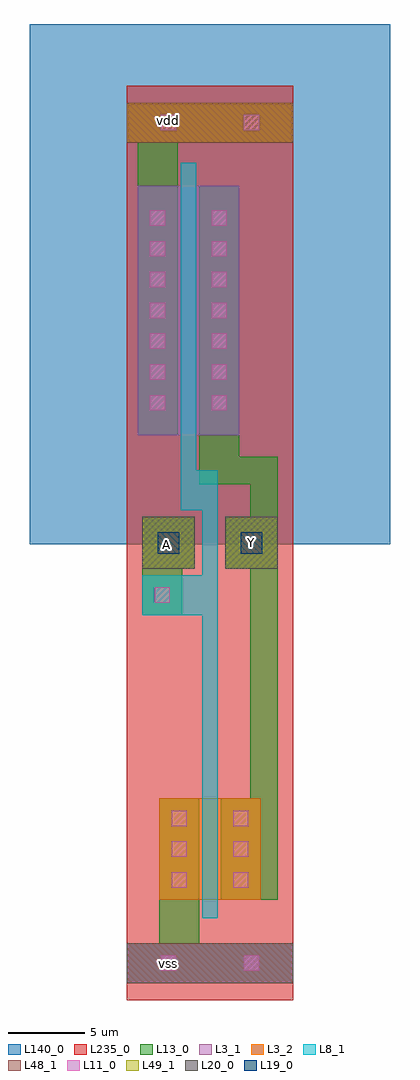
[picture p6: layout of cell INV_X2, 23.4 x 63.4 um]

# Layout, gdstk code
import gdstk
lib = gdstk.Library(unit=1e-6, precision=1e-09)
def R(c, l, rs):  # rectangles x0, y0, x1, y1
    for r in rs: c.add(gdstk.rectangle(r[:2], r[2:], *l))
def A(c, l, x, y, w, h, nx, ny, dx, dy):  # array of equal rectangles
    R(c, l, [(x+i*dx, y+j*dy, x+i*dx+w, y+j*dy+h) for i in range(nx) for j in range(ny)])
def P(c, l, *ps):  # polygons
    for p in ps: c.add(gdstk.Polygon(p, *l))
L3_1 = (3, 1)
L3_2 = (3, 2)
L8_1 = (8, 1)
L11_0 = (11, 0)
L13_0 = (13, 0)
L19_0 = (19, 0)
L20_0 = (20, 0)
L48_1 = (48, 1)
L49_1 = (49, 1)
L140_0 = (140, 0)
L235_0 = (235, 0)

inv_x2 = lib.new_cell('INV_X2')
R(inv_x2, L3_1, [(0,1.1,10.8,3.7), (0.7,36.7,7.3,52.9)])
R(inv_x2, L3_2, [(2.1,6.5,8.7,13.1), (0,55.7,10.8,58.3)])
P(inv_x2, L8_1, [(4.9,5.3),(4.9,25),(1,25),(1,27.6),(4.9,27.6),(4.9,31.8),(3.5,31.8),(3.5,54.4),(4.5,54.4),(4.5,34.4),(5.9,34.4),(5.9,5.3)])
A(inv_x2, L11_0, 2.9, 7.3, 1, 1, 1, 3, 0, 2)
A(inv_x2, L11_0, 6.9, 7.3, 1, 1, 1, 3, 0, 2)
R(inv_x2, L11_0, [(2.2,1.9,3.2,2.9), (7.6,1.9,8.6,2.9), (7.6,1.9,8.6,2.9), (1.8,25.8,2.8,26.8), (1.5,38.3,2.5,39.3), (1.5,38.3,2.5,39.3), (5.5,38.3,6.5,39.3), (5.5,38.3,6.5,39.3), (1.5,40.3,2.5,41.3), (1.5,40.3,2.5,41.3), (5.5,40.3,6.5,41.3), (5.5,40.3,6.5,41.3), (1.5,42.3,2.5,43.3), (1.5,42.3,2.5,43.3), (5.5,42.3,6.5,43.3), (5.5,42.3,6.5,43.3), (1.5,44.3,2.5,45.3), (1.5,44.3,2.5,45.3), (1.5,44.3,2.5,45.3), (1.5,44.3,2.5,45.3), (5.5,44.3,6.5,45.3), (5.5,44.3,6.5,45.3), (5.5,44.3,6.5,45.3), (5.5,44.3,6.5,45.3), (1.5,46.3,2.5,47.3), (1.5,46.3,2.5,47.3), (5.5,46.3,6.5,47.3), (5.5,46.3,6.5,47.3), (1.5,48.3,2.5,49.3), (1.5,48.3,2.5,49.3), (5.5,48.3,6.5,49.3), (5.5,48.3,6.5,49.3), (1.5,50.3,2.5,51.3), (1.5,50.3,2.5,51.3), (5.5,50.3,6.5,51.3), (5.5,50.3,6.5,51.3), (2.2,56.5,3.2,57.5), (2.2,56.5,3.2,57.5), (7.6,56.5,8.6,57.5), (7.6,56.5,8.6,57.5), (7.6,56.5,8.6,57.5), (7.6,56.5,8.6,57.5)])
R(inv_x2, L13_0, [(2.1,3.7,4.7,13.1), (0.7,36.7,3.3,55.7), (0,55.7,10.8,58.3)])
P(inv_x2, L13_0, [(1,25),(1,31.4),(4.4,31.4),(4.4,28),(3.6,28),(3.6,25)],
  [(6.1,6.5),(6.1,13.1),(8,13.1),(8,28),(6.4,28),(6.4,31.4),(8,31.4),(8,33.5),(4.7,33.5),(4.7,52.9),(7.3,52.9),(7.3,35.3),(9.8,35.3),(9.8,6.5)],
  [(0,1.1),(0,3.7),(0.7,3.7),(3.3,3.7),(10.8,3.7),(10.8,1.1)])
R(inv_x2, L19_0, [(2,29,3.4,30.4), (7.4,29,8.8,30.4)])
R(inv_x2, L20_0, [(1,28,4.4,31.4), (6.4,28,9.8,31.4)])
R(inv_x2, L48_1, [(0,1.1,10.8,3.7), (0,55.7,10.8,58.3)])
R(inv_x2, L49_1, [(1,28,4.4,31.4), (6.4,28,9.8,31.4)])
R(inv_x2, L140_0, [(-6.3,29.6,17.1,63.4)])
R(inv_x2, L235_0, [(0,0,10.8,59.4)])
inv_x2.add(gdstk.Label('A', (2.6,29.6), layer=49, texttype=0))
inv_x2.add(gdstk.Label('Y', (8.1,29.7), layer=49, texttype=0))
inv_x2.add(gdstk.Label('vss', (2.7,2.4), layer=48, texttype=0))
inv_x2.add(gdstk.Label('vdd', (2.7,57.1), layer=48, texttype=0))

lib.write_gds('INV_X2.gds')
